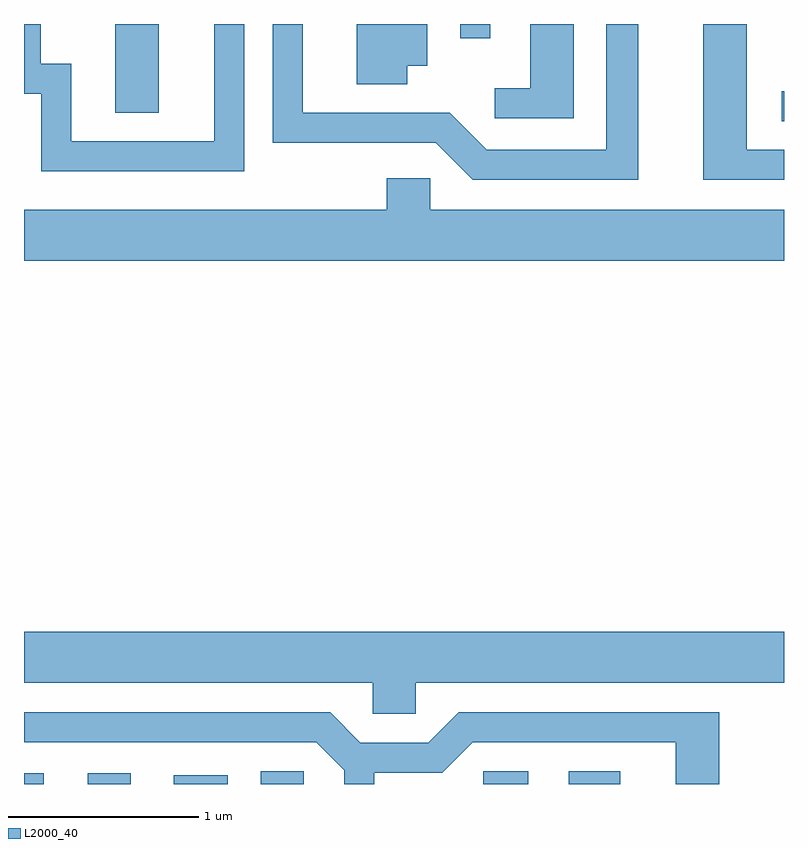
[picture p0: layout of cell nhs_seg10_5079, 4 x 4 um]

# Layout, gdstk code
import gdstk
lib = gdstk.Library(unit=1e-6, precision=1e-09)
def R(c, l, rs):  # rectangles x0, y0, x1, y1
    for r in rs: c.add(gdstk.rectangle(r[:2], r[2:], *l))
def P(c, l, *ps):  # polygons
    for p in ps: c.add(gdstk.Polygon(p, *l))
L2000_40 = (2000, 40)

nhs_seg10_5079 = lib.new_cell('nhs_seg10_5079')
R(nhs_seg10_5079, L2000_40, [(335.611,2084.522,335.714,2084.579), (335.946,2084.522,336.174,2084.579), (336.398,2084.522,336.684,2084.569), (336.856,2084.522,337.084,2084.589), (338.028,2084.522,338.264,2084.589), (338.478,2084.522,338.749,2084.589), (339.598,2088.011,339.611,2088.169), (336.091,2088.056,336.319,2088.522), (337.906,2088.448,338.064,2088.522)])
P(nhs_seg10_5079, L2000_40, [(338.844,2088.522),(338.676,2088.522),(338.676,2087.859),(338.047,2087.859),(337.852,2088.054),(337.079,2088.054),(337.079,2088.522),(336.921,2088.522),(336.921,2087.896),(337.779,2087.896),(337.974,2087.701),(338.844,2087.701)],
  [(336.769,2088.522),(336.611,2088.522),(336.611,2087.904),(335.859,2087.904),(335.859,2088.314),(335.699,2088.314),(335.699,2088.522),(335.611,2088.522),(335.611,2088.156),(335.701,2088.156),(335.701,2087.746),(336.769,2087.746)],
  [(339.611,2087.859),(339.414,2087.859),(339.414,2088.522),(339.186,2088.522),(339.186,2087.701),(339.611,2087.701)],
  [(338.504,2088.522),(338.276,2088.522),(338.276,2088.184),(338.088,2088.184),(338.088,2088.026),(338.504,2088.026)],
  [(337.629,2088.301),(337.734,2088.301),(337.734,2088.522),(337.361,2088.522),(337.361,2088.206),(337.629,2088.206)],
  [(339.611,2087.544),(337.749,2087.544),(337.749,2087.709),(337.521,2087.709),(337.521,2087.544),(335.611,2087.544),(335.611,2087.276),(339.611,2087.276)],
  [(337.674,2085.056),(339.611,2085.056),(339.611,2085.324),(335.611,2085.324),(335.611,2085.056),(337.446,2085.056),(337.446,2084.891),(337.674,2084.891)],
  [(337.454,2084.581),(337.812,2084.581),(337.972,2084.741),(339.041,2084.741),(339.041,2084.522),(339.269,2084.522),(339.269,2084.899),(337.899,2084.899),(337.739,2084.739),(337.382,2084.739),(337.222,2084.899),(335.611,2084.899),(335.611,2084.741),(337.149,2084.741),(337.296,2084.594),(337.296,2084.522),(337.454,2084.522)])

lib.write_gds('nhs_seg10_5079.gds')
